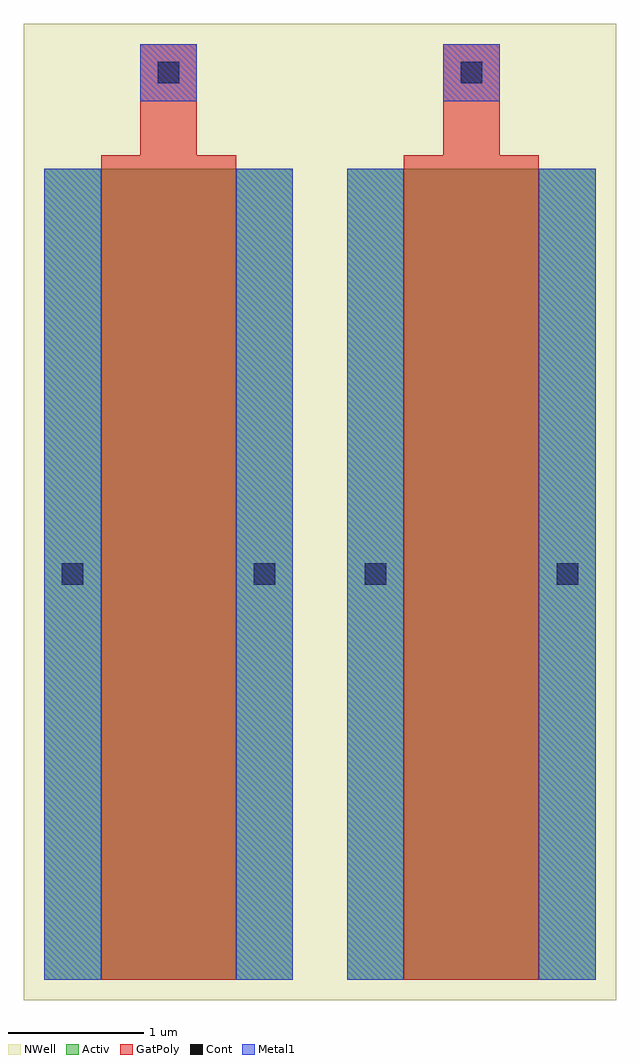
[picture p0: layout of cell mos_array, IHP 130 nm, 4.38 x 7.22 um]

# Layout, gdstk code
import gdstk
lib = gdstk.Library(unit=1e-6, precision=1e-09)
def R(c, l, rs):  # rectangles x0, y0, x1, y1
    for r in rs: c.add(gdstk.rectangle(r[:2], r[2:], *l))
Activ = (1, 0)
GatPoly = (5, 0)
Cont = (6, 0)
Metal1 = (8, 0)
NWell = (31, 0)

mos_array = lib.new_cell('mos_array')
R(mos_array, Activ, [(0,0,1.84,6), (2.24,0,4.08,6)])
R(mos_array, GatPoly, [(0.42,0,1.42,6), (2.66,0,3.66,6), (0.42,6,1.42,6.1), (2.66,6,3.66,6.1), (0.71,6.1,1.13,6.92), (2.95,6.1,3.37,6.92)])
R(mos_array, Cont, [(0.13,2.92,0.29,3.08), (1.55,2.92,1.71,3.08), (2.37,2.92,2.53,3.08), (3.79,2.92,3.95,3.08), (0.84,6.63,1,6.79), (3.08,6.63,3.24,6.79)])
R(mos_array, Metal1, [(0,0,0.42,6), (1.42,0,1.84,6), (2.24,0,2.66,6), (3.66,0,4.08,6), (0.71,6.5,1.13,6.92), (2.95,6.5,3.37,6.92)])
R(mos_array, NWell, [(-0.15,-0.15,4.23,7.07)])

lib.write_gds('mos_array.gds')
